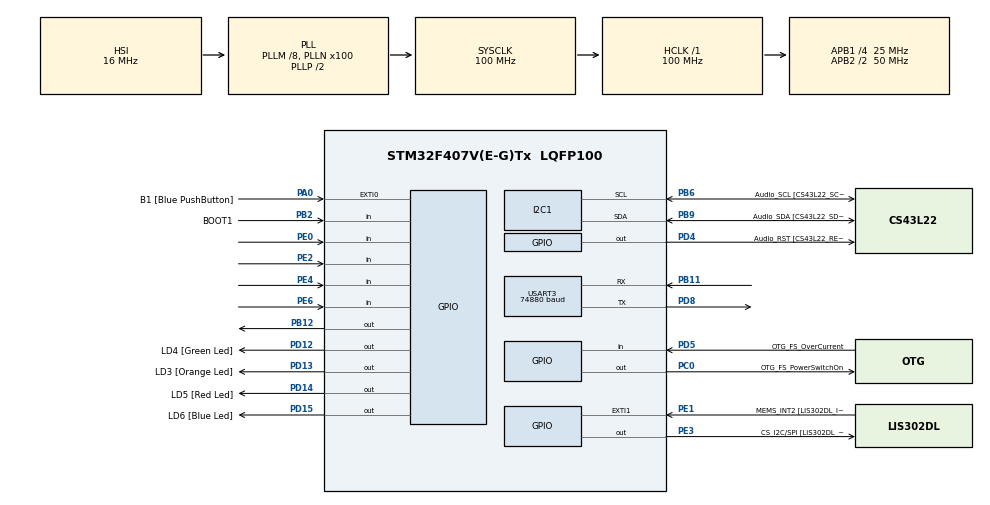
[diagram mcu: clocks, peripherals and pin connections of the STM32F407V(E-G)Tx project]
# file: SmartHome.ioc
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FREERTOS.Tasks01=defaultTask,24,128,StartDefaultTask,Default,NULL,Dynamic,NULL,NULL
FREERTOS.configUSE_NEWLIB_REENTRANT=1
I2C1.I2C_Mode=I2C_Fast
Mcu.Family=STM32F4
Mcu.Name=STM32F407V(E-G)Tx
Mcu.Package=LQFP100
NVIC.PriorityGroup=NVIC_PRIORITYGROUP_4
NVIC.TIM3_IRQn=true\:15\:0\:false\:false\:true\:false\:false\:true\:true
NVIC.TimeBase=TIM3_IRQn
NVIC.TimeBaseIP=TIM3
PA0-WKUP.GPIO_Label=B1 [Blue PushButton]
PA0-WKUP.Signal=GPXTI0
PA10.GPIO_Label=OTG_FS_ID
PA10.GPIO_Mode=GPIO_MODE_AF_PP
PA10.GPIO_PuPd=GPIO_NOPULL
PA10.GPIO_Speed=GPIO_SPEED_FREQ_LOW
PA10.Signal=USB_OTG_FS_ID
PA11.GPIO_Label=OTG_FS_DM
PA11.GPIO_Mode=GPIO_MODE_AF_PP
PA11.GPIO_PuPd=GPIO_NOPULL
PA11.GPIO_Speed=GPIO_SPEED_FREQ_LOW
PA11.Signal=USB_OTG_FS_DM
PA12.GPIO_Label=OTG_FS_DP
PA12.GPIO_Mode=GPIO_MODE_AF_PP
PA12.GPIO_PuPd=GPIO_NOPULL
PA12.GPIO_Speed=GPIO_SPEED_FREQ_LOW
PA12.Signal=USB_OTG_FS_DP
PA13.GPIO_Label=SWDIO
PA13.Mode=Serial_Wire
PA13.Signal=SYS_JTMS-SWDIO
PA14.GPIO_Label=SWCLK
PA14.Mode=Serial_Wire
PA14.Signal=SYS_JTCK-SWCLK
PA4.GPIO_Label=I2S3_WS [CS43L22_LRCK]
PA4.GPIO_Mode=GPIO_MODE_AF_PP
PA4.GPIO_PuPd=GPIO_NOPULL
PA4.GPIO_Speed=GPIO_SPEED_FREQ_LOW
PA4.Signal=I2S3_WS
PA5.GPIO_Label=SPI1_SCK [LIS302DL_SCL/SPC]
PA5.GPIO_Mode=GPIO_MODE_AF_PP
PA5.GPIO_PuPd=GPIO_NOPULL
PA5.GPIO_Speed=GPIO_SPEED_FREQ_LOW
PA5.Signal=SPI1_SCK
PA6.GPIO_Label=SPI1_MISO [LIS302DL_SDO]
PA6.GPIO_Mode=GPIO_MODE_AF_PP
PA6.GPIO_PuPd=GPIO_NOPULL
PA6.GPIO_Speed=GPIO_SPEED_FREQ_LOW
PA6.Signal=SPI1_MISO
PA7.GPIO_Label=SPI1_MOSI [LIS302DL_SDA/SDI/SDO]
PA7.GPIO_Mode=GPIO_MODE_AF_PP
PA7.GPIO_PuPd=GPIO_NOPULL
PA7.GPIO_Speed=GPIO_SPEED_FREQ_LOW
PA7.Signal=SPI1_MOSI
PA9.GPIO_Label=VBUS_FS
PA9.GPIO_Mode=GPIO_MODE_INPUT
PA9.GPIO_PuPd=GPIO_NOPULL
PA9.Signal=USB_OTG_FS_VBUS
PB10.GPIO_Label=CLK_IN [MP45DT02_CLK]
PB10.GPIO_Mode=GPIO_MODE_AF_PP
PB10.GPIO_PuPd=GPIO_NOPULL
PB10.GPIO_Speed=GPIO_SPEED_FREQ_LOW
PB10.Signal=I2S2_CK
PB11.Mode=Asynchronous
PB11.Signal=USART3_RX
PB12.Signal=GPIO_Output
PB2.GPIO_Label=BOOT1
PB2.GPIO_Mode=GPIO_MODE_INPUT
PB2.GPIO_PuPd=GPIO_NOPULL
PB2.Signal=GPIO_Input
PB3.GPIO_Label=SWO
PB3.Signal=SYS_JTDO-SWO
PB6.GPIO_Label=Audio_SCL [CS43L22_SCL]
PB6.GPIO_Mode=GPIO_MODE_AF_OD
PB6.GPIO_PuPd=GPIO_NOPULL
PB6.GPIO_Speed=GPIO_SPEED_FREQ_LOW
PB6.Mode=I2C
PB6.Signal=I2C1_SCL
PB9.GPIO_Label=Audio_SDA [CS43L22_SDA]
PB9.GPIO_Mode=GPIO_MODE_AF_OD
PB9.GPIO_PuPd=GPIO_NOPULL
PB9.GPIO_Speed=GPIO_SPEED_FREQ_LOW
PB9.Mode=I2C
PB9.Signal=I2C1_SDA
PC0.GPIO_Label=OTG_FS_PowerSwitchOn
PC0.GPIO_PuPd=GPIO_NOPULL
PC0.GPIO_Speed=GPIO_SPEED_FREQ_LOW
PC0.PinState=GPIO_PIN_SET
PC0.Signal=GPIO_Output
PC10.GPIO_Label=I2S3_SCK [CS43L22_SCLK]
PC10.GPIO_Mode=GPIO_MODE_AF_PP
PC10.GPIO_PuPd=GPIO_NOPULL
PC10.GPIO_Speed=GPIO_SPEED_FREQ_LOW
PC10.Signal=I2S3_CK
PC12.GPIO_Label=I2S3_SD [CS43L22_SDIN]
PC12.GPIO_Mode=GPIO_MODE_AF_PP
PC12.GPIO_PuPd=GPIO_NOPULL
PC12.GPIO_Speed=GPIO_SPEED_FREQ_LOW
PC12.Signal=I2S3_SD
PC14-OSC32_IN.GPIO_Label=PC14-OSC32_IN
PC14-OSC32_IN.Signal=RCC_OSC32_IN
PC15-OSC32_OUT.GPIO_Label=PC15-OSC32_OUT
PC15-OSC32_OUT.Signal=RCC_OSC32_OUT
PC3.GPIO_Label=PDM_OUT [MP45DT02_DOUT]
PC3.GPIO_Mode=GPIO_MODE_AF_PP
PC3.GPIO_PuPd=GPIO_NOPULL
PC3.GPIO_Speed=GPIO_SPEED_FREQ_LOW
PC3.Signal=I2S2_SD
PC7.GPIO_Label=I2S3_MCK [CS43L22_MCLK]
PC7.GPIO_Mode=GPIO_MODE_AF_PP
PC7.GPIO_PuPd=GPIO_NOPULL
PC7.GPIO_Speed=GPIO_SPEED_FREQ_LOW
PC7.Signal=I2S3_MCK
PD12.GPIO_Label=LD4 [Green Led]
PD12.GPIO_PuPd=GPIO_NOPULL
PD12.GPIO_Speed=GPIO_SPEED_FREQ_LOW
PD12.Signal=GPIO_Output
PD13.GPIO_Label=LD3 [Orange Led]
PD13.GPIO_PuPd=GPIO_NOPULL
PD13.GPIO_Speed=GPIO_SPEED_FREQ_LOW
PD13.Signal=GPIO_Output
PD14.GPIO_Label=LD5 [Red Led]
PD14.GPIO_PuPd=GPIO_NOPULL
PD14.GPIO_Speed=GPIO_SPEED_FREQ_LOW
PD14.Signal=GPIO_Output
PD15.GPIO_Label=LD6 [Blue Led]
PD15.GPIO_PuPd=GPIO_NOPULL
PD15.GPIO_Speed=GPIO_SPEED_FREQ_LOW
PD15.Signal=GPIO_Output
PD4.GPIO_Label=Audio_RST [CS43L22_RESET]
PD4.GPIO_PuPd=GPIO_NOPULL
PD4.GPIO_Speed=GPIO_SPEED_FREQ_LOW
PD4.Signal=GPIO_Output
PD5.GPIO_Label=OTG_FS_OverCurrent
PD5.GPIO_Mode=GPIO_MODE_INPUT
PD5.GPIO_PuPd=GPIO_NOPULL
PD5.Signal=GPIO_Input
PD8.Mode=Asynchronous
PD8.Signal=USART3_TX
PE0.Signal=GPIO_Input
PE1.GPIO_Label=MEMS_INT2 [LIS302DL_INT2]
PE1.GPIO_ModeDefaultEXTI=GPIO_MODE_EVT_RISING
PE1.GPIO_PuPd=GPIO_NOPULL
PE1.Signal=GPXTI1
PE2.Signal=GPIO_Input
PE3.GPIO_Label=CS_I2C/SPI [LIS302DL_CS_I2C/SPI]
PE3.GPIO_PuPd=GPIO_NOPULL
PE3.GPIO_Speed=GPIO_SPEED_FREQ_LOW
PE3.Signal=GPIO_Output
PE4.Signal=GPIO_Input
PE6.Signal=GPIO_Input
PH0-OSC_IN.GPIO_Label=PH0-OSC_IN
PH0-OSC_IN.Signal=RCC_OSC_IN
PH1-OSC_OUT.GPIO_Label=PH1-OSC_OUT
PH1-OSC_OUT.Signal=RCC_OSC_OUT
ProjectManager.HeapSize=0x200
ProjectManager.StackSize=0x400
ProjectManager.TargetToolchain=STM32CubeIDE
RCC.48MHZClocksFreq_Value=28571428.57142857
RCC.AHBFreq_Value=100000000
RCC.APB1CLKDivider=RCC_HCLK_DIV4
RCC.APB1Freq_Value=25000000
RCC.APB1TimFreq_Value=50000000
RCC.APB2CLKDivider=RCC_HCLK_DIV2
RCC.APB2Freq_Value=50000000
RCC.APB2TimFreq_Value=100000000
RCC.CortexFreq_Value=100000000
RCC.HCLKFreq_Value=100000000
RCC.HSE_VALUE=8000000
RCC.HSI_VALUE=16000000
RCC.LSE_VALUE=32768
RCC.PLLM=8
RCC.PLLN=100
RCC.PLLQ=7
RCC.SYSCLKFreq_VALUE=100000000
RCC.SYSCLKSource=RCC_SYSCLKSOURCE_PLLCLK
RCC.VCOOutputFreq_Value=200000000
USART3.BaudRate=74880
USART3.VirtualMode=VM_ASYNC
VP_FREERTOS_VS_CMSIS_V2.Mode=CMSIS_V2
VP_SYS_VS_tim3.Mode=TIM3
board=STM32F407G-DISC1

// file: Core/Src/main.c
/* USER CODE BEGIN Header */
/**
  ******************************************************************************
  * @file           : main.c
  * @brief          : Main program body
  ******************************************************************************
  * @attention
  *
  * Copyright (c) 2025 STMicroelectronics.
  * All rights reserved.
  *
  * This software is licensed under terms that can be found in the LICENSE file
  * in the root directory of this software component.
  * If no LICENSE file comes with this software, it is provided AS-IS.
  *
  ******************************************************************************
  */
/* USER CODE END Header */
#include "main.h"
#include "cmsis_os.h"
#include "i2c.h"
#include "usart.h"
#include "gpio.h"

/* USER CODE BEGIN Includes */
#include "link.h"
#include "dht11.h"
/* USER CODE END Includes */

void SystemClock_Config(void);
void MX_FREERTOS_Init(void);
/* USER CODE BEGIN PFP */
int _write(int file, char *ptr, int len) {
    for (int i = 0; i < len; i++) {
        ITM_SendChar(*ptr++);
    }
    return len;
}
/* USER CODE END PFP */

int main(void)
{

  /* MCU Configuration--------------------------------------------------------*/

  /* Reset of all peripherals, Initializes the Flash interface and the Systick. */
  HAL_Init();

  /* Configure the system clock */
  SystemClock_Config();

  /* Initialize all configured peripherals */
  MX_GPIO_Init();
  MX_I2C1_Init();
  MX_USART3_UART_Init();
  /* USER CODE BEGIN 2 */
  MY_GPIO_Init();
  Init_Link();
  DHT11_Init();
  /* USER CODE END 2 */

  /* Init scheduler */
  osKernelInitialize();

  /* Call init function for freertos objects (in cmsis_os2.c) */
  MX_FREERTOS_Init();

  /* Start scheduler */
  osKernelStart();

  /* We should never get here as control is now taken by the scheduler */

  /* Infinite loop */
  while (1)
  {

  }
}

void SystemClock_Config(void)
{
  RCC_OscInitTypeDef RCC_OscInitStruct = {0};
  RCC_ClkInitTypeDef RCC_ClkInitStruct = {0};

  /** Configure the main internal regulator output voltage
  */
  __HAL_RCC_PWR_CLK_ENABLE();
  __HAL_PWR_VOLTAGESCALING_CONFIG(PWR_REGULATOR_VOLTAGE_SCALE1);

  /** Initializes the RCC Oscillators according to the specified parameters
  * in the RCC_OscInitTypeDef structure.
  */
  RCC_OscInitStruct.OscillatorType = RCC_OSCILLATORTYPE_HSI;
  RCC_OscInitStruct.HSIState = RCC_HSI_ON;
  RCC_OscInitStruct.HSICalibrationValue = RCC_HSICALIBRATION_DEFAULT;
  RCC_OscInitStruct.PLL.PLLState = RCC_PLL_ON;
  RCC_OscInitStruct.PLL.PLLSource = RCC_PLLSOURCE_HSI;
  RCC_OscInitStruct.PLL.PLLM = 8;
  RCC_OscInitStruct.PLL.PLLN = 100;
  RCC_OscInitStruct.PLL.PLLP = RCC_PLLP_DIV2;
  RCC_OscInitStruct.PLL.PLLQ = 7;
  if (HAL_RCC_OscConfig(&RCC_OscInitStruct) != HAL_OK)
  {
    Error_Handler();
  }

  /** Initializes the CPU, AHB and APB buses clocks
  */
  RCC_ClkInitStruct.ClockType = RCC_CLOCKTYPE_HCLK|RCC_CLOCKTYPE_SYSCLK
                              |RCC_CLOCKTYPE_PCLK1|RCC_CLOCKTYPE_PCLK2;
  RCC_ClkInitStruct.SYSCLKSource = RCC_SYSCLKSOURCE_PLLCLK;
  RCC_ClkInitStruct.AHBCLKDivider = RCC_SYSCLK_DIV1;
  RCC_ClkInitStruct.APB1CLKDivider = RCC_HCLK_DIV4;
  RCC_ClkInitStruct.APB2CLKDivider = RCC_HCLK_DIV2;

  if (HAL_RCC_ClockConfig(&RCC_ClkInitStruct, FLASH_LATENCY_3) != HAL_OK)
  {
    Error_Handler();
  }
}

void HAL_TIM_PeriodElapsedCallback(TIM_HandleTypeDef *htim)
{
  if (htim->Instance == TIM3) {
    HAL_IncTick();
  }
}

void Error_Handler(void)
{
  __disable_irq();
  while (1)
  {
  }
}

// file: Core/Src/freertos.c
/* USER CODE BEGIN Header */
/**
  ******************************************************************************
  * File Name          : freertos.c
  * Description        : Code for freertos applications
  ******************************************************************************
  * @attention
  *
  * Copyright (c) 2025 STMicroelectronics.
  * All rights reserved.
  *
  * This software is licensed under terms that can be found in the LICENSE file
  * in the root directory of this software component.
  * If no LICENSE file comes with this software, it is provided AS-IS.
  *
  ******************************************************************************
  */
/* USER CODE END Header */

#include "FreeRTOS.h"
#include "task.h"
#include "main.h"
#include "cmsis_os.h"

/* USER CODE BEGIN Includes */
#include "esp8266.h"
#include "oled.h"
#include <stdio.h>
#include <string.h>
#include "dht11.h"
#include "semphr.h"
#include "task.h"
#include "bh1750.h"
#include "show.h"
#include "timers.h"
#include "upload.h"
#include "control.h"
#include "link.h"
#include "queue.h"
/* USER CODE END Includes */

/* USER CODE BEGIN Variables */
extern UART_HandleTypeDef huart3;
//extern TaskHandle_t xTimerTaskHandle;

EnvInfo gInfo = {.cur_time = 1736200229,};

xQueueHandle uartHandle;
SemaphoreHandle_t semHandle;
TimerHandle_t dataTimerHandle;
TimerHandle_t buzzerTimerHandle;
uint8_t gMenu = 1;  //4 pages can be shown on OLED, use gMenu to select the page
uint8_t gBuzzerFlag = 0;  //use for record buzzer state, as to check if the button is used for closing the buzzer
uint8_t gUartBuf[256] = {0};  //use for receiving message from uart

osThreadId_t recvTaskHandle;
const osThreadAttr_t recvTask_attributes = {
  .name = "recvTask",
  .stack_size = 128 * 8,
  .priority = (osPriority_t) osPriorityNormal,
};

osThreadId_t tempTaskHandle;
const osThreadAttr_t tempTask_attributes = {
  .name = "tempTask",
  .stack_size = 128 * 4,
  .priority = (osPriority_t) osPriorityNormal,
};

osThreadId_t lightTaskHandle;
const osThreadAttr_t lightTask_attributes = {
  .name = "lightTask",
  .stack_size = 128 * 4,
  .priority = (osPriority_t) osPriorityNormal,
};

osThreadId_t OLEDTaskHandle;
const osThreadAttr_t OLEDTask_attributes = {
  .name = "OLEDTask",
  .stack_size = 128 * 4,
  .priority = (osPriority_t) osPriorityNormal1,
};

osThreadId_t UploadTaskHandle;
const osThreadAttr_t UploadTask_attributes = {
  .name = "UploadTask",
  .stack_size = 128 * 16,
  .priority = (osPriority_t) osPriorityNormal1,
};

/* USER CODE END Variables */
/* Definitions for defaultTask */
osThreadId_t defaultTaskHandle;
const osThreadAttr_t defaultTask_attributes = {
  .name = "defaultTask",
  .stack_size = 128 * 8,
  .priority = (osPriority_t) osPriorityNormal,
};

/* USER CODE BEGIN FunctionPrototypes */
void RecvTask(void *arg);
void Task_Recv_Msg(uint8_t *msg);
void GetTempTask(void *arg);
void GetLightTask(void *arg);
void OLED_Show_Task(void *arg);
uint8_t Key_Scan(void);
void Data_Increase_Callback(TimerHandle_t xTimer);
void UploadTask(void *arg);
void Buzzer_Callback(TimerHandle_t xTimer);
//void PrintAllTaskInfo(void);

/* USER CODE END FunctionPrototypes */

void StartDefaultTask(void *argument);

void MX_FREERTOS_Init(void); /* (MISRA C 2004 rule 8.1) */

void MX_FREERTOS_Init(void) {

  /* USER CODE BEGIN RTOS_TIMERS */
  /* start timers, add new ones, ... */
	int timeid = 1;
	dataTimerHandle = xTimerCreate("data", 1000, pdTRUE, &timeid, Data_Increase_Callback);  //create timer
	int timeid2 = 2;
	buzzerTimerHandle = xTimerCreate("buzzer", 1, pdTRUE, &timeid2, Buzzer_Callback);
  /* USER CODE END RTOS_TIMERS */

  /* USER CODE BEGIN RTOS_QUEUES */
  /* add queues, ... */
	uartHandle = xQueueCreate(5, sizeof(gUartBuf));
  /* USER CODE END RTOS_QUEUES */

  /* Create the thread(s) */
  /* creation of defaultTask */
  defaultTaskHandle = osThreadNew(StartDefaultTask, NULL, &defaultTask_attributes);

}

void StartDefaultTask(void *argument)
{
  /* USER CODE BEGIN StartDefaultTask */
	semHandle = xSemaphoreCreateBinary();
	xSemaphoreGive(semHandle);  //initialize semHandle

	OLED_Init();
	OLED_Clear();
	OLED_ShowString(0,0,(uint8_t *)"[1]START WORKING", 16);

	ESP8266_Init();
	if(ESP8266_Connect_AP(SSID, PASSWORD)){
		OLED_ShowString(0,2,(uint8_t *)"[2]WIFI OK", 16);
	}
	else{
		OLED_ShowString(0,2,(uint8_t *)"[2]WIFI ERR", 16);
	}

	if(ESP8266_Connect_MQTT(MQTTIP, MQTTPORT, "test", "test")){
		OLED_ShowString(0,4,(uint8_t *)"[3]MQTT OK", 16);
	}
	else{
		OLED_ShowString(0,4,(uint8_t *)"[3]MQTT ERR", 16);
	}
	if(ESP8266_Subscribe(DEVICEID)){
		OLED_ShowString(0,6,(uint8_t *)"[4]SUBSCRIBE OK", 16);
	}
	else{
		OLED_ShowString(0,6,(uint8_t *)"[4]SUBSCRIBE ERR", 16);
	}
	osDelay(1000);

	//start timer
	if (xTimerStart(dataTimerHandle, portMAX_DELAY) != pdPASS) {
	    printf("Failed to start the timer\r\n");
	}

	HAL_UARTEx_ReceiveToIdle_IT(&huart3, gUartBuf, sizeof(gUartBuf)); //Open the Idle interrupt of uart3

	//create task
	recvTaskHandle = osThreadNew(RecvTask, NULL, &recvTask_attributes);

	osDelay(1000);

	tempTaskHandle = osThreadNew(GetTempTask, NULL, &tempTask_attributes);
	lightTaskHandle = osThreadNew(GetLightTask, NULL, &lightTask_attributes);
	OLEDTaskHandle = osThreadNew(OLED_Show_Task, NULL, &OLEDTask_attributes);
	UploadTaskHandle = osThreadNew(UploadTask, NULL, &UploadTask_attributes);

  /* Infinite loop */
  for(;;)
  {
	  //if buzzer is work, press button will close it, else the menu will be changed by button
	if (Key_Scan() == 1)
	{
		if (gBuzzerFlag == 1)
		{
			Control_Buzzer_Stop();
		}
		else
		{
			gMenu++;
			if (gMenu == 5)
				gMenu = 1;
		}
	}

	//find the alarm which satisfy the requirement and turn on it
	if (gBuzzerFlag == 0 && Link_Alarm_Isset())
	{
		Control_Buzzer_Start();
	}
	osDelay(50);
  }
  /* USER CODE END StartDefaultTask */
}

/* USER CODE BEGIN Application */

void RecvTask(void *arg){

	uint8_t msg[256] = {0};
	while(1){
		//Task_Recv_Msg(msg);
		xQueueReceive(uartHandle, msg, portMAX_DELAY); //read data from uart
		if(strlen((char *)msg) > 10){ //when strlen(msg) < 10, this message is from esp8266
			//printf("Get message from server: %s\r\n", msg);
			Parse_Message((char *)msg);
		}
		memset(msg, 0, sizeof(msg));
	}
}

//void Task_Recv_Msg(uint8_t *msg){
//	uint8_t data, flag = 0, i = 0;
//	uint32_t old_tick = 0;
//
//	while (1)
//	{
//		if (HAL_GetTick() - old_tick > 100 && flag)
//		{
//			break;
//		}
//
//		if (HAL_UART_Receive(&huart3, &data, 1, 10) == HAL_TIMEOUT)
//		{
//			continue;
//		}
//		else
//		{
//			msg[i++] = data;
//			old_tick = HAL_GetTick();
//			flag = 1;
//		}
//	}
//}

void GetTempTask(void *arg){
//    UBaseType_t priority = uxTaskPriorityGet(NULL);
//    printf("temp priority: %lu\n", priority);

	uint8_t data[5] = {0};
	//printf("%d %d\r\n", data[0], data[2]);
	while(1){
		vTaskSuspendAll();  //close allocator
		DHT11_Read_Data(data);
		xTaskResumeAll();

		xSemaphoreTake(semHandle, portMAX_DELAY);
		//printf("Semaphore taken in Task temp\n");
		gInfo.humi = data[0];
		gInfo.temp = data[2];
		xSemaphoreGive(semHandle);
		//printf("Semaphore given in Task temp\n");
		printf("humi: %d.%d %%  temp: %d.%d C\r\n", data[0], data[1], data[2], data[3]);
		osDelay(500);
	}
}

void GetLightTask(void *arg){
//    UBaseType_t priority = uxTaskPriorityGet(NULL);
//    printf("light priority: %lu\n", priority);

	//printf("light function\r\n");
	uint8_t data[2] = {0};
	uint16_t light = 0;
	while(1){
		BH1750_Send_CMD(0x20);
		osDelay(150);
		BH1750_Read_Data(data);
		light = BH1750_Data_To_Lx(data);
		xSemaphoreTake(semHandle, portMAX_DELAY);
		//printf("Semaphore taken in Task light\n");
		gInfo.light = light;
		xSemaphoreGive(semHandle);
		//printf("Semaphore given in Task light\n");
		osDelay(350);
		printf("light: %d\r\n", light);
	}
}

void OLED_Show_Task(void *arg){
	OLED_Show_Menu();
}

uint8_t Key_Scan(void){

//	if(HAL_GPIO_ReadPin(GPIOE, GPIO_PIN_6) == 0){  //read key1(GPIO6)
//		osDelay(20);
//		if(HAL_GPIO_ReadPin(GPIOE, GPIO_PIN_6) == 0){
//			while(HAL_GPIO_ReadPin(GPIOE, GPIO_PIN_6) == 0);
//			return 1;
//		}
//	}

    static uint8_t prevState = GPIO_PIN_SET;
    uint8_t currState = HAL_GPIO_ReadPin(GPIOE, GPIO_PIN_6);

    if (prevState == GPIO_PIN_SET && currState == GPIO_PIN_RESET) { // Button pressed
        osDelay(30); // Debounce delay
        if (HAL_GPIO_ReadPin(GPIOE, GPIO_PIN_6) == GPIO_PIN_RESET) { // Confirm press
            prevState = GPIO_PIN_RESET;
            return 1; // Button press detected
        }
    } else if (currState == GPIO_PIN_SET) { // Button released
        prevState = GPIO_PIN_SET;
    }

	return 0;
}

void Data_Increase_Callback(TimerHandle_t xTimer){
	xSemaphoreTake(semHandle, portMAX_DELAY);
	gInfo.cur_time++;
	xSemaphoreGive(semHandle);
}

void Buzzer_Callback(TimerHandle_t xTimer)
{
	HAL_GPIO_TogglePin(GPIOA, GPIO_PIN_8);
}

void UploadTask(void *arg){
	while(1){
		UploadHandle();
		osDelay(500);
	}
}

/* USER CODE END Application */
